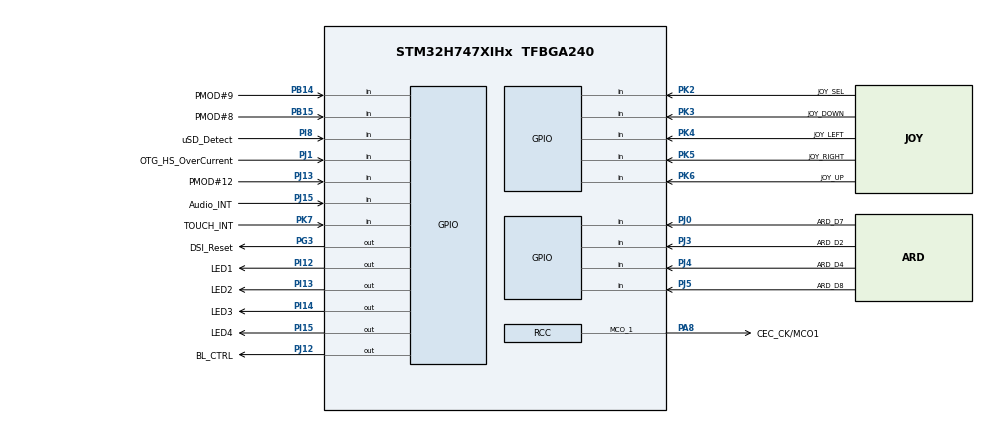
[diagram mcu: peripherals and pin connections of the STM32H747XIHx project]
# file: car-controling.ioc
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CortexM4.IPs=BDMA,DMA,FATFS_M4\:I,FREERTOS_M4\:I,IWDG2\:I,MDMA,NVIC2\:I,RCC,USB_DEVICE_M4\:I,USB_HOST_M4\:I,WWDG2\:I,DEBUG,PDM2PCM_M4\:I,PWR,RESMGR_UTILITY,SYS_M4\:I,CORTEX_M4\:I,OPENAMP_M4\:I,VREFBUF,GPIO
CortexM4.Pins=PI12,PI14
CortexM7.IPs=BDMA\:I,DMA\:I,FATFS_M7\:I,FREERTOS_M7\:I,IWDG1\:I,MDMA\:I,NVIC1\:I,RCC\:I,USB_DEVICE_M7\:I,USB_HOST_M7\:I,WWDG1\:I,CORTEX_M7\:I,DEBUG\:I,PDM2PCM_M7\:I,PWR\:I,RESMGR_UTILITY\:I,SYS\:I,OPENAMP_M7\:I,VREFBUF\:I,GPIO\:I
CortexM7.Pins=PI13,PI15
DSI_CKN.Signal=DSIHOST_CKN
DSI_CKP.Signal=DSIHOST_CKP
DSI_D0N.Signal=DSIHOST_D0N
DSI_D0P.Signal=DSIHOST_D0P
DSI_D1N.Signal=DSIHOST_D1N
DSI_D1P.Signal=DSIHOST_D1P
Mcu.Family=STM32H7
Mcu.Name=STM32H747XIHx
Mcu.Package=TFBGA240
NVIC1.PriorityGroup=NVIC_PRIORITYGROUP_4
NVIC2.PriorityGroup=NVIC_PRIORITYGROUP_4
PA0_C.GPIO_Label=ARD_A2
PA0_C.PinAttribute=CortexM4
PA0_C.Signal=ADCx_INP0
PA1.GPIO_Label=ETH_REF_CLK
PA1.PinAttribute=CortexM4
PA1.Signal=ETH_REF_CLK
PA10.GPIO_Label=STLINK_TX
PA10.PinAttribute=CortexM7
PA10.Signal=USART1_RX
PA11.GPIO_Label=PMOD\#1
PA11.PinAttribute=CortexM4
PA11.Signal=SPI2_NSS
PA12.GPIO_Label=SPI2_SCK
PA12.PinAttribute=CortexM4
PA12.Signal=SPI2_SCK
PA1_C.GPIO_Label=ARD_A3
PA1_C.PinAttribute=CortexM4
PA1_C.Signal=ADCx_INP1
PA2.GPIO_Label=ETH_MDIO
PA2.PinAttribute=CortexM4
PA2.Signal=ETH_MDIO
PA3.GPIO_Label=ULPI_D0
PA3.PinAttribute=CortexM4
PA3.Signal=USB_OTG_HS_ULPI_D0
PA5.GPIO_Label=ULPI_CK
PA5.PinAttribute=CortexM4
PA5.Signal=USB_OTG_HS_ULPI_CK
PA7.GPIO_Label=ETH_CRS_DV
PA7.PinAttribute=CortexM4
PA7.Signal=ETH_CRS_DV
PA8.GPIO_Label=CEC_CK/MCO1
PA8.Mode=Clock-out-1
PA8.PinAttribute=CortexM7
PA8.Signal=RCC_MCO_1
PA9.GPIO_Label=STLINK_RX
PA9.PinAttribute=CortexM7
PA9.Signal=USART1_TX
PB0.GPIO_Label=ULPI_D1
PB0.PinAttribute=CortexM4
PB0.Signal=USB_OTG_HS_ULPI_D1
PB1.GPIO_Label=ULPI_D2
PB1.PinAttribute=CortexM4
PB1.Signal=USB_OTG_HS_ULPI_D2
PB10.GPIO_Label=ULPI_D3
PB10.PinAttribute=CortexM4
PB10.Signal=USB_OTG_HS_ULPI_D3
PB11.GPIO_Label=ULPI_D4
PB11.PinAttribute=CortexM4
PB11.Signal=USB_OTG_HS_ULPI_D4
PB12.GPIO_Label=ULPI_D5
PB12.PinAttribute=CortexM4
PB12.Signal=USB_OTG_HS_ULPI_D5
PB13.GPIO_Label=ULPI_D6
PB13.PinAttribute=CortexM4
PB13.Signal=USB_OTG_HS_ULPI_D6
PB14.GPIO_Label=PMOD\#9
PB14.PinAttribute=Free
PB14.Signal=GPIO_Input
PB15.GPIO_Label=PMOD\#8
PB15.PinAttribute=Free
PB15.Signal=GPIO_Input
PB2.GPIO_Label=QSPI_CLK
PB2.PinAttribute=CortexM4
PB2.Signal=QUADSPI_CLK
PB5.GPIO_Label=ULPI_D7
PB5.PinAttribute=CortexM4
PB5.Signal=USB_OTG_HS_ULPI_D7
PB6.GPIO_Label=HDMI_CEC
PB6.PinAttribute=CortexM4
PB6.Signal=CEC
PC0.GPIO_Label=ULPI_STP
PC0.PinAttribute=CortexM4
PC0.Signal=USB_OTG_HS_ULPI_STP
PC1.GPIO_Label=ETH_MDC/SAI4_D1
PC1.PinAttribute=CortexM4
PC1.Signal=ETH_MDC
PC10.GPIO_Label=SDIO1_D2
PC10.PinAttribute=CortexM4
PC10.Signal=SDMMC1_D2
PC12.GPIO_Label=SDIO1_CK
PC12.PinAttribute=CortexM4
PC12.Signal=SDMMC1_CK
PC13.GPIO_Label=B2 [Wakeup Button]
PC13.PinAttribute=CortexM4
PC13.Signal=RTC_TAMP1
PC14-OSC32_IN\ (OSC32_IN).GPIO_Label=OSC32_IN
PC14-OSC32_IN\ (OSC32_IN).Mode=LSE-External-Oscillator
PC14-OSC32_IN\ (OSC32_IN).PinAttribute=CortexM7
PC14-OSC32_IN\ (OSC32_IN).Signal=RCC_OSC32_IN
PC15-OSC32_OUT\ (OSC32_OUT).GPIO_Label=OSC32_OUT
PC15-OSC32_OUT\ (OSC32_OUT).Mode=LSE-External-Oscillator
PC15-OSC32_OUT\ (OSC32_OUT).PinAttribute=CortexM7
PC15-OSC32_OUT\ (OSC32_OUT).Signal=RCC_OSC32_OUT
PC2.GPIO_Label=PMOD\#3
PC2.PinAttribute=CortexM4
PC2.Signal=SPI2_MISO
PC2_C.GPIO_Label=ARD_A4
PC2_C.PinAttribute=CortexM4
PC2_C.Signal=ADC3_INP0
PC3.GPIO_Label=PMOD\#2
PC3.PinAttribute=CortexM4
PC3.Signal=SPI2_MOSI
PC3_C.GPIO_Label=ARD_A5
PC3_C.PinAttribute=CortexM4
PC3_C.Signal=ADC3_INP1
PC4.GPIO_Label=ETH_RXD0
PC4.PinAttribute=CortexM4
PC4.Signal=ETH_RXD0
PC5.GPIO_Label=ETH_RXD1
PC5.PinAttribute=CortexM4
PC5.Signal=ETH_RXD1
PC8.GPIO_Label=SDIO1_D0
PC8.PinAttribute=CortexM4
PC8.Signal=SDMMC1_D0
PD0.GPIO_Label=FMC_D2
PD0.PinAttribute=CortexM4
PD0.Signal=FMC_D2_DA2
PD1.GPIO_Label=FMC_D3
PD1.PinAttribute=CortexM4
PD1.Signal=FMC_D3_DA3
PD10.GPIO_Label=FMC_D15
PD10.PinAttribute=CortexM4
PD10.Signal=FMC_D15_DA15
PD11.GPIO_Label=QSPI_BK1_IO0
PD11.PinAttribute=CortexM4
PD11.Signal=QUADSPI_BK1_IO0
PD12.Signal=I2C4_SCL
PD13.Signal=I2C4_SDA
PD14.GPIO_Label=FMC_D0
PD14.PinAttribute=CortexM4
PD14.Signal=FMC_D0_DA0
PD15.GPIO_Label=FMC_D1
PD15.PinAttribute=CortexM4
PD15.Signal=FMC_D1_DA1
PD2.GPIO_Label=SDIO1_CMD
PD2.PinAttribute=CortexM4
PD2.Signal=SDMMC1_CMD
PD7.GPIO_Label=SPDIF_RX0
PD7.PinAttribute=CortexM4
PD7.Signal=SPDIFRX1_IN0
PD8.GPIO_Label=FMC_D13
PD8.PinAttribute=CortexM4
PD8.Signal=FMC_D13_DA13
PD9.GPIO_Label=FMC_D14
PD9.PinAttribute=CortexM4
PD9.Signal=FMC_D14_DA14
PE0.GPIO_Label=FMC_NBL0
PE0.PinAttribute=CortexM4
PE0.Signal=FMC_NBL0
PE1.GPIO_Label=FMC_NBL1
PE1.PinAttribute=CortexM4
PE1.Signal=FMC_NBL1
PE10.GPIO_Label=FMC_D7
PE10.PinAttribute=CortexM4
PE10.Signal=FMC_D7_DA7
PE11.GPIO_Label=FMC_D8
PE11.PinAttribute=CortexM4
PE11.Signal=FMC_D8_DA8
PE12.GPIO_Label=FMC_D9
PE12.PinAttribute=CortexM4
PE12.Signal=FMC_D9_DA9
PE13.GPIO_Label=FMC_D10
PE13.PinAttribute=CortexM4
PE13.Signal=FMC_D10_DA10
PE14.GPIO_Label=FMC_D11
PE14.PinAttribute=CortexM4
PE14.Signal=FMC_D11_DA11
PE15.GPIO_Label=FMC_D12
PE15.PinAttribute=CortexM4
PE15.Signal=FMC_D12_DA12
PE3.GPIO_Label=SAI1_SD_B
PE3.PinAttribute=CortexM4
PE3.Signal=SAI1_SD_B
PE4.GPIO_Label=SAI1_FS_A
PE4.PinAttribute=CortexM4
PE4.Signal=SAI1_FS_A
PE5.GPIO_Label=SAI1_SCK_A
PE5.PinAttribute=CortexM4
PE5.Signal=SAI1_SCK_A
PE6.GPIO_Label=SAI1_SD_A
PE6.PinAttribute=CortexM4
PE6.Signal=SAI1_SD_A
PE7.GPIO_Label=FMC_D4
PE7.PinAttribute=CortexM4
PE7.Signal=FMC_D4_DA4
PE8.GPIO_Label=FMC_D5
PE8.PinAttribute=CortexM4
PE8.Signal=FMC_D5_DA5
PE9.GPIO_Label=FMC_D6
PE9.PinAttribute=CortexM4
PE9.Signal=FMC_D6_DA6
PF0.GPIO_Label=FMC_A0
PF0.PinAttribute=CortexM4
PF0.Signal=FMC_A0
PF1.GPIO_Label=FMC_A1
PF1.PinAttribute=CortexM4
PF1.Signal=FMC_A1
PF10.GPIO_Label=ARD_A1
PF10.PinAttribute=CortexM4
PF10.Signal=ADC3_INP6
PF11.GPIO_Label=FMC_SDRAS
PF11.PinAttribute=CortexM4
PF11.Signal=FMC_SDNRAS
PF12.GPIO_Label=FMC_A6
PF12.PinAttribute=CortexM4
PF12.Signal=FMC_A6
PF13.GPIO_Label=FMC_A7
PF13.PinAttribute=CortexM4
PF13.Signal=FMC_A7
PF14.GPIO_Label=FMC_A8
PF14.PinAttribute=CortexM4
PF14.Signal=FMC_A8
PF15.GPIO_Label=FMC_A9
PF15.PinAttribute=CortexM4
PF15.Signal=FMC_A9
PF2.GPIO_Label=FMC_A2
PF2.PinAttribute=CortexM4
PF2.Signal=FMC_A2
PF3.GPIO_Label=FMC_A3
PF3.PinAttribute=CortexM4
PF3.Signal=FMC_A3
PF4.GPIO_Label=FMC_A4
PF4.PinAttribute=CortexM4
PF4.Signal=FMC_A4
PF5.GPIO_Label=FMC_A5
PF5.PinAttribute=CortexM4
PF5.Signal=FMC_A5
PF6.GPIO_Label=QSPI_BK1_IO3
PF6.PinAttribute=CortexM4
PF6.Signal=QUADSPI_BK1_IO3
PF7.GPIO_Label=QSPI_BK1_IO2
PF7.PinAttribute=CortexM4
PF7.Signal=QUADSPI_BK1_IO2
PF8.GPIO_Label=PMOD\#14/ARD_D3
PF8.PinAttribute=CortexM4
PF8.Signal=S_TIM13_CH1
PF9.GPIO_Label=QSPI_BK1_IO1
PF9.PinAttribute=CortexM4
PF9.Signal=QUADSPI_BK1_IO1
PG0.GPIO_Label=FMC_A10
PG0.PinAttribute=CortexM4
PG0.Signal=FMC_A10
PG1.GPIO_Label=FMC_A11
PG1.PinAttribute=CortexM4
PG1.Signal=FMC_A11
PG11.GPIO_Label=ETH_TX_EN
PG11.PinAttribute=CortexM4
PG11.Signal=ETH_TX_EN
PG12.GPIO_Label=ETH_TXD1
PG12.PinAttribute=CortexM4
PG12.Signal=ETH_TXD1
PG13.GPIO_Label=ETH_TXD0
PG13.PinAttribute=CortexM4
PG13.Signal=ETH_TXD0
PG14.GPIO_Label=QSPI_BK2_IO3
PG14.PinAttribute=CortexM4
PG14.Signal=QUADSPI_BK2_IO3
PG15.GPIO_Label=FMC_SDCAS
PG15.PinAttribute=CortexM4
PG15.Signal=FMC_SDNCAS
PG2.GPIO_Label=FMC_A12
PG2.PinAttribute=CortexM4
PG2.Signal=FMC_A12
PG3.GPIO_Label=DSI_Reset
PG3.PinAttribute=Free
PG3.Signal=GPIO_Output
PG4.GPIO_Label=FMC_BA0
PG4.PinAttribute=CortexM4
PG4.Signal=FMC_A14_BA0
PG6.GPIO_Label=QSPI_BK1_NCS
PG6.PinAttribute=CortexM4
PG6.Signal=QUADSPI_BK1_NCS
PG7.GPIO_Label=SAI1_MCLK_A
PG7.PinAttribute=CortexM4
PG7.Signal=SAI1_MCLK_A
PG8.GPIO_Label=FMC_SDCLK
PG8.PinAttribute=CortexM4
PG8.Signal=FMC_SDCLK
PG9.GPIO_Label=QSPI_BK2_IO2
PG9.PinAttribute=CortexM4
PG9.Signal=QUADSPI_BK2_IO2
PH0-OSC_IN\ (PH0).GPIO_Label=OSC_IN
PH0-OSC_IN\ (PH0).Mode=HSE-External-Oscillator
PH0-OSC_IN\ (PH0).PinAttribute=CortexM7
PH0-OSC_IN\ (PH0).Signal=RCC_OSC_IN
PH1-OSC_OUT\ (PH1).GPIO_Label=OSC_OUT
PH1-OSC_OUT\ (PH1).Mode=HSE-External-Oscillator
PH1-OSC_OUT\ (PH1).PinAttribute=CortexM7
PH1-OSC_OUT\ (PH1).Signal=RCC_OSC_OUT
PH10.GPIO_Label=FMC_D18
PH10.PinAttribute=CortexM4
PH10.Signal=FMC_D18
PH11.GPIO_Label=FMC_D19
PH11.PinAttribute=CortexM4
PH11.Signal=FMC_D19
PH12.GPIO_Label=FMC_D20
PH12.PinAttribute=CortexM4
PH12.Signal=FMC_D20
PH13.GPIO_Label=FMC_D21
PH13.PinAttribute=CortexM4
PH13.Signal=FMC_D21
PH14.GPIO_Label=FMC_D22
PH14.PinAttribute=CortexM4
PH14.Signal=FMC_D22
PH15.GPIO_Label=FMC_D23
PH15.PinAttribute=CortexM4
PH15.Signal=FMC_D23
PH2.GPIO_Label=QSPI_BK2_IO0
PH2.PinAttribute=CortexM4
PH2.Signal=QUADSPI_BK2_IO0
PH3.GPIO_Label=QSPI_BK2_IO1
PH3.PinAttribute=CortexM4
PH3.Signal=QUADSPI_BK2_IO1
PH4.GPIO_Label=ULPI_NXT
PH4.PinAttribute=CortexM4
PH4.Signal=USB_OTG_HS_ULPI_NXT
PH5.GPIO_Label=FMC_SDNWE
PH5.PinAttribute=CortexM4
PH5.Signal=FMC_SDNWE
PH6.GPIO_Label=FMC_SDNE1
PH6.PinAttribute=CortexM4
PH6.Signal=FMC_SDNE1
PH7.GPIO_Label=FMC_SDCKE1
PH7.PinAttribute=CortexM4
PH7.Signal=FMC_SDCKE1
PH8.GPIO_Label=FMC_D16
PH8.PinAttribute=CortexM4
PH8.Signal=FMC_D16
PH9.GPIO_Label=FMC_D17
PH9.PinAttribute=CortexM4
PH9.Signal=FMC_D17
PI0.GPIO_Label=FMC_D24
PI0.PinAttribute=CortexM4
PI0.Signal=FMC_D24
PI1.GPIO_Label=FMC_D25
PI1.PinAttribute=CortexM4
PI1.Signal=FMC_D25
PI10.GPIO_Label=FMC_D31
PI10.PinAttribute=CortexM4
PI10.Signal=FMC_D31
PI11.GPIO_Label=ULPI_DIR
PI11.PinAttribute=CortexM4
PI11.Signal=USB_OTG_HS_ULPI_DIR
PI12.GPIO_Label=LED1
PI12.PinAttribute=CortexM4
PI12.Signal=GPIO_Output
PI13.GPIO_Label=LED2
PI13.PinAttribute=CortexM7
PI13.Signal=GPIO_Output
PI14.GPIO_Label=LED3
PI14.PinAttribute=CortexM4
PI14.Signal=GPIO_Output
PI15.GPIO_Label=LED4
PI15.PinAttribute=CortexM7
PI15.Signal=GPIO_Output
PI2.GPIO_Label=FMC_D26
PI2.PinAttribute=CortexM4
PI2.Signal=FMC_D26
PI3.GPIO_Label=FMC_D27
PI3.PinAttribute=CortexM4
PI3.Signal=FMC_D27
PI4.GPIO_Label=FMC_NBL2
PI4.PinAttribute=CortexM4
PI4.Signal=FMC_NBL2
PI5.GPIO_Label=FMC_NBL3
PI5.PinAttribute=CortexM4
PI5.Signal=FMC_NBL3
PI6.GPIO_Label=FMC_D28
PI6.PinAttribute=CortexM4
PI6.Signal=FMC_D28
PI7.GPIO_Label=FMC_D29
PI7.PinAttribute=CortexM4
PI7.Signal=FMC_D29
PI8.GPIO_Label=uSD_Detect
PI8.PinAttribute=Free
PI8.Signal=GPIO_Input
PI9.GPIO_Label=FMC_D30
PI9.PinAttribute=CortexM4
PI9.Signal=FMC_D30
PJ0.GPIO_Label=ARD_D7
PJ0.PinAttribute=Free
PJ0.Signal=GPIO_Input
PJ1.GPIO_Label=OTG_HS_OverCurrent
PJ1.PinAttribute=Free
PJ1.Signal=GPIO_Input
PJ10.GPIO_Label=ARD_D11
PJ10.PinAttribute=CortexM4
PJ10.Signal=SPI5_MOSI
PJ11.GPIO_Label=ARD_D12
PJ11.PinAttribute=CortexM4
PJ11.Signal=SPI5_MISO
PJ12.GPIO_Label=BL_CTRL
PJ12.PinAttribute=Free
PJ12.Signal=GPIO_Output
PJ13.GPIO_Label=PMOD\#12
PJ13.PinAttribute=Free
PJ13.Signal=GPIO_Input
PJ15.GPIO_Label=Audio_INT
PJ15.PinAttribute=Free
PJ15.Signal=GPIO_Input
PJ2.GPIO_Label=DSI_TE
PJ2.Signal=DSIHOST_TE
PJ3.GPIO_Label=ARD_D2
PJ3.PinAttribute=Free
PJ3.Signal=GPIO_Input
PJ4.GPIO_Label=ARD_D4
PJ4.PinAttribute=Free
PJ4.Signal=GPIO_Input
PJ5.GPIO_Label=ARD_D8
PJ5.PinAttribute=Free
PJ5.Signal=GPIO_Input
PJ6.GPIO_Label=ARD_D9
PJ6.PinAttribute=CortexM4
PJ6.Signal=S_TIM8_CH2
PJ7.GPIO_Label=ARD_D6
PJ7.PinAttribute=CortexM4
PJ7.Signal=TIM8_CH2N
PJ8.GPIO_Label=ARD_D1
PJ8.PinAttribute=CortexM4
PJ8.Signal=UART8_TX
PJ9.GPIO_Label=ARD_D0
PJ9.PinAttribute=CortexM4
PJ9.Signal=UART8_RX
PK0.GPIO_Label=ARD_D13
PK0.PinAttribute=CortexM4
PK0.Signal=SPI5_SCK
PK1.GPIO_Label=ARD_D10
PK1.PinAttribute=CortexM4
PK1.Signal=SPI5_NSS
PK2.GPIO_Label=JOY_SEL
PK2.PinAttribute=Free
PK2.Signal=GPIO_Input
PK3.GPIO_Label=JOY_DOWN
PK3.PinAttribute=Free
PK3.Signal=GPIO_Input
PK4.GPIO_Label=JOY_LEFT
PK4.PinAttribute=Free
PK4.Signal=GPIO_Input
PK5.GPIO_Label=JOY_RIGHT
PK5.PinAttribute=Free
PK5.Signal=GPIO_Input
PK6.GPIO_Label=JOY_UP
PK6.PinAttribute=Free
PK6.Signal=GPIO_Input
PK7.GPIO_Label=TOUCH_INT
PK7.PinAttribute=Free
PK7.Signal=GPIO_Input
ProjectManager.HeapSize=M4-0x200,M7-0x200
ProjectManager.StackSize=M4-0x400,M7-0x400
ProjectManager.TargetToolchain=Makefile
RCC.ADCFreq_Value=75000000
RCC.APB1Freq_Value=64000000
RCC.APB2Freq_Value=64000000
RCC.APB3Freq_Value=64000000
RCC.APB4Freq_Value=64000000
RCC.CortexFreq_Value=64000000
RCC.DIVM1=5
RCC.DIVM2=2
RCC.DIVN1=48
RCC.DIVN2=12
RCC.DIVQ1=5
RCC.HCLKFreq_Value=64000000
RCC.PLL2FRACN=0
RCC.PLL3FRACN=0
RCC.PLLFRACN=0
RCC.PLLSourceVirtual=RCC_PLLSOURCE_HSE
RCC.PWR_Regulator_Voltage_Scale=PWR_REGULATOR_VOLTAGE_SCALE1
RCC.SYSCLKFreq_VALUE=64000000
RCC.SupplySource=PWR_DIRECT_SMPS_SUPPLY
RCC.USBFreq_Value=48000000
SH.ADCx_INP0.0=ADC1_INP0
SH.ADCx_INP1.0=ADC1_INP1
SH.FMC_A0.0=FMC_A0
SH.FMC_A1.0=FMC_A1
SH.FMC_A10.0=FMC_A10
SH.FMC_A11.0=FMC_A11
SH.FMC_A12.0=FMC_A12
SH.FMC_A14_BA0.0=FMC_BA0
SH.FMC_A2.0=FMC_A2
SH.FMC_A3.0=FMC_A3
SH.FMC_A4.0=FMC_A4
SH.FMC_A5.0=FMC_A5
SH.FMC_A6.0=FMC_A6
SH.FMC_A7.0=FMC_A7
SH.FMC_A8.0=FMC_A8
SH.FMC_A9.0=FMC_A9
SH.FMC_D0_DA0.0=FMC_D0
SH.FMC_D10_DA10.0=FMC_D10
SH.FMC_D11_DA11.0=FMC_D11
SH.FMC_D12_DA12.0=FMC_D12
SH.FMC_D13_DA13.0=FMC_D13
SH.FMC_D14_DA14.0=FMC_D14
SH.FMC_D15_DA15.0=FMC_D15
SH.FMC_D16.0=FMC_D16
SH.FMC_D17.0=FMC_D17
SH.FMC_D18.0=FMC_D18
SH.FMC_D19.0=FMC_D19
SH.FMC_D1_DA1.0=FMC_D1
SH.FMC_D20.0=FMC_D20
SH.FMC_D21.0=FMC_D21
SH.FMC_D22.0=FMC_D22
SH.FMC_D23.0=FMC_D23
SH.FMC_D24.0=FMC_D24
SH.FMC_D25.0=FMC_D25
SH.FMC_D26.0=FMC_D26
SH.FMC_D27.0=FMC_D27
SH.FMC_D28.0=FMC_D28
SH.FMC_D29.0=FMC_D29
SH.FMC_D2_DA2.0=FMC_D2
SH.FMC_D30.0=FMC_D30
SH.FMC_D31.0=FMC_D31
SH.FMC_D3_DA3.0=FMC_D3
SH.FMC_D4_DA4.0=FMC_D4
SH.FMC_D5_DA5.0=FMC_D5
SH.FMC_D6_DA6.0=FMC_D6
SH.FMC_D7_DA7.0=FMC_D7
SH.FMC_D8_DA8.0=FMC_D8
SH.FMC_D9_DA9.0=FMC_D9
SH.FMC_NBL0.0=FMC_NBL0
SH.FMC_NBL1.0=FMC_NBL1
SH.FMC_NBL2.0=FMC_NBL2
SH.FMC_NBL3.0=FMC_NBL3
SH.FMC_SDCLK.0=FMC_SDCLK
SH.FMC_SDNCAS.0=FMC_SDNCAS
SH.FMC_SDNRAS.0=FMC_SDNRAS
SH.FMC_SDNWE.0=FMC_SDNWE
SH.S_TIM13_CH1.0=TIM13_CH1
SH.S_TIM8_CH2.0=TIM8_CH2
VP_SYS_M4_VS_Systick.Mode=SysTick
board=STM32H747I-DISCO

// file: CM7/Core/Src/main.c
/* USER CODE BEGIN Header */
/**
 ******************************************************************************
 * @file           : main.c
 * @brief          : Main program body
 ******************************************************************************
 * @attention
 *
 * Copyright (c) 2024 STMicroelectronics.
 * All rights reserved.
 *
 * This software is licensed under terms that can be found in the LICENSE file
 * in the root directory of this software component.
 * If no LICENSE file comes with this software, it is provided AS-IS.
 *
 ******************************************************************************
 */
/* USER CODE END Header */
#include "main.h"
#include "gpio.h"

/* USER CODE BEGIN PTD */

extern LTDC_HandleTypeDef hlcd_ltdc;
extern DSI_HandleTypeDef hlcd_dsi;
DSI_VidCfgTypeDef hdsivideo_handle;
DSI_CmdCfgTypeDef CmdCfg;
DSI_LPCmdTypeDef LPCmd;
DSI_PLLInitTypeDef dsiPllInit;
static RCC_PeriphCLKInitTypeDef PeriphClkInitStruct;
OTM8009A_Object_t *pObj;

typedef enum {
   FRONT_SCREEN,
   TURNON_SCENE,
   TIMER_CONFIG_SCENE,
   WAITING_SCENE
} Scene_t;
typedef enum { PUSH_BUTTON, TIMER_BUTTON, NONE } Button_type_t;

typedef struct {
   Scene_t scene;
   uint8_t _delay;
   char status_message[50];
   char title[50];
   uint32_t status_color;
   uint16_t progress_bar;
   uint32_t timer;
   uint32_t config_timer;
   uint32_t timer_left;
   uint32_t timer_start_time;
   uint32_t button_left_color;
   Button_type_t button_left_type;
   uint32_t button_right_color;
   Button_type_t button_right_type;
} App_t;

/* USER CODE END PTD */

/* USER CODE BEGIN PD */

#define VSYNC 1
#define VBP 1
#define VFP 1
#define VACT 480
#define HSYNC 1
#define HBP 1
#define HFP 1
#define HACT 800

#define TS_ACCURACY 2
#define TS_INSTANCE 0

#define SECOND 1000

#define APP_COLOR_BACKGROUND UTIL_LCD_COLOR_CUSTOM_Stone
#define APP_COLOR_RED UTIL_LCD_COLOR_RED
#define APP_COLOR_BLUE UTIL_LCD_COLOR_CUSTOM_Blue
#define APP_COLOR_TEXT UTIL_LCD_COLOR_WHITE
#define APP_COLOR_GREEN UTIL_LCD_COLOR_DARKGREEN
#define APP_COLOR_YELLOW UTIL_LCD_COLOR_CUSTOM_Yellow
#define APP_COLOR_STONE UTIL_LCD_COLOR_BLACK

#define LAYER0_ADDRESS (LCD_FB_START_ADDRESS)

#define DELAY 1000

#ifndef HSEM_ID_0
#define HSEM_ID_0 (0U) /* HW semaphore 0*/
#endif

/* USER CODE END PD */

/* USER CODE BEGIN PV */

static int32_t pending_buffer = -1;

/* USER CODE END PV */

void SystemClock_Config(void);
/* USER CODE BEGIN PFP */
void Error_Handler(void);

/* LCD screen functions */
static uint8_t LCD_Init(void);
void LTDC_Init(void);

static void LCD_LayertInit(uint16_t LayerIndex, uint32_t Address);
static int32_t DSI_IO_Write(uint16_t ChannelNbr, uint16_t Reg, uint8_t *pData,
                            uint16_t Size);
static int32_t DSI_IO_Read(uint16_t ChannelNbr, uint16_t Reg, uint8_t *pData,
                           uint16_t Size);
int32_t LCD_GetXSize(uint32_t Instance, uint32_t *XSize);
int32_t LCD_GetYSize(uint32_t Instance, uint32_t *YSize);
void LCD_MspInit(void);

/* Display functions */
static void LCD_Display_SetStatus(char *ptr);
static void LCD_Display_ProgressBar(uint16_t progress, uint32_t color);
static void LCD_Display_SetTitle(char *ptr);
static void LCD_Display_LeftButton(App_t *app);
static void LCD_Display_RightButton(App_t *app);
static void LCD_Display_ButtonTitles(App_t *app);
static void LCD_Display_TimerButton(App_t *app);

/* TouchScreen functions */
int32_t TS_Init(void);

/* Main app logic functions */
static void APP_HandleTouch(TS_State_t *TS_State, App_t *app);
static void APP_UpdateScene(App_t *app);
uint8_t APP_HandleTouch_IsInInterval(TS_State_t *s, uint32_t x_max,
                                     uint32_t x_min, uint32_t y_max,
                                     uint32_t y_min);
static void APP_StartTimer(App_t *app);
static void APP_UpdateTimer(App_t *app);
static void APP_TurnPeripheries(App_t *app);

static void TO_FRONT_SCENE(App_t *app);
static void TO_TURNON_SCENE(App_t *app);
static void TO_TIMER_CONFIG_SCENE(App_t *app);
static void TO_WAITING_SCENE(App_t *app);

static void CPU_CACHE_Enable(void);
static void MPU_Config(void);

const LCD_UTILS_Drv_t LCD_UTIL_Driver = {
    BSP_LCD_DrawBitmap,     BSP_LCD_FillRGBRect,   BSP_LCD_DrawHLine,
    BSP_LCD_DrawVLine,      BSP_LCD_FillRect,      BSP_LCD_ReadPixel,
    BSP_LCD_WritePixel,     LCD_GetXSize,          LCD_GetYSize,
    BSP_LCD_SetActiveLayer, BSP_LCD_GetPixelFormat};

/* USER CODE END PFP */

/**
 * @brief  Main program
 * @param  None
 * @retval None
 */
int main(void)
{

   /* System Init, System clock, voltage scaling and L1-Cache configuration are
    done by CPU1 (Cortex-M7) in the meantime Domain D2 is put in STOP
    mode(Cortex-M4 in deep-sleep)
    */

   /* Configure the MPU attributes as Write Through for SDRAM*/
   MPU_Config();

   /* Enable the CPU Cache */
   // CPU_CACHE_Enable(); // ! FOR DUAL CORE COMMUN., CACHE SHOULD BE DISABLE

   /* STM32H7xx HAL library initialization:
    - Systick timer is configured by default as source of time base, but user
    can eventually implement his proper time base source (a general purpose
    timer for example or other time source), keeping in mind that Time base
    duration should be kept 1ms since PPP_TIMEOUT_VALUEs are defined and
    handled in milliseconds basis.
    - Set NVIC Group Priority to 4
    - Low Level Initialization
    */
   HAL_Init();

   /* Configure the system clock to 400 MHz */
   SystemClock_Config();

   /* When system initialization is finished, Cortex-M7 could wakeup (when
    needed) the Cortex-M4  by means of HSEM notification or by any D2 wakeup
    source (SEV,EXTI..)   */

   /* Initialize used Leds */
   BSP_LED_Init(LED2);
   BSP_LED_Init(LED4);

   /* Initialize the SDRAM */
   BSP_SDRAM_Init(0);

   /* Init Touch Screen */
   if (TS_Init() != BSP_ERROR_NONE) {
      Error_Handler();
   }

   /* Initialize the LCD   */
   if (LCD_Init() != BSP_ERROR_NONE) {
      Error_Handler();
   }

   /* Set the LCD Context */
   Lcd_Ctx[0].ActiveLayer = 0;
   Lcd_Ctx[0].PixelFormat = LCD_PIXEL_FORMAT_ARGB8888;
   Lcd_Ctx[0].BppFactor = 4; /* 4 Bytes Per Pixel for ARGB8888 */
   Lcd_Ctx[0].XSize = 800;
   Lcd_Ctx[0].YSize = 480;
   /* Disable DSI Wrapper in order to access and configure the LTDC */
   __HAL_DSI_WRAPPER_DISABLE(&hlcd_dsi);

   /* Initialize LTDC layer 0 iused for Hint */
   LCD_LayertInit(0, LCD_FRAME_BUFFER);
   UTIL_LCD_SetFuncDriver(&LCD_UTIL_Driver);

   /* Enable DSI Wrapper so DSI IP will drive the LTDC */
   __HAL_DSI_WRAPPER_ENABLE(&hlcd_dsi);

   /* Clear display */
   UTIL_LCD_Clear(APP_COLOR_BACKGROUND);

   /*Refresh the LCD display*/
   HAL_DSI_Refresh(&hlcd_dsi);

   /* Create App struct */
   App_t app;
   app.progress_bar = 100;
   app.timer = 0;
   app.scene = FRONT_SCREEN;
   sprintf(app.status_message, "  Toaster is stopped                         ");
   sprintf(app.title, "            ~ TOASTER CONTROLLER ~");
   app.status_color = APP_COLOR_RED;
   app.button_left_color = APP_COLOR_GREEN;
   app.button_left_type = PUSH_BUTTON;
   app.button_right_color = APP_COLOR_YELLOW;
   app.button_right_type = PUSH_BUTTON;
   app._delay = 0;

   TS_State_t TS_State;

   /* Infinite loop */
   while (1) {

      BSP_TS_GetState(TS_INSTANCE, &TS_State);
      /* Handel touch && Update app struct */
      APP_HandleTouch(&TS_State, &app);

      /* Update timer */
      APP_UpdateTimer(&app);

      /* Render display by app struct */
      APP_UpdateScene(&app);

      /* Turn on toaster, in testing mode I used LED */
      APP_TurnPeripheries(&app);
   }
}
/**
 * @brief  Gets the LCD X size.
 * @param  Instance  LCD Instance
 * @param  XSize     LCD width
 * @retval BSP status
 */
int32_t LCD_GetXSize(uint32_t Instance, uint32_t *XSize)
{
   *XSize = Lcd_Ctx[0].XSize;

   return BSP_ERROR_NONE;
}

/**
 * @brief  Gets the LCD Y size.
 * @param  Instance  LCD Instance
 * @param  YSize     LCD Height
 * @retval BSP status
 */
int32_t LCD_GetYSize(uint32_t Instance, uint32_t *YSize)
{
   *YSize = Lcd_Ctx[0].YSize;

   return BSP_ERROR_NONE;
}
/**
 * @brief  End of Refresh DSI callback.
 * @param  hdsi: pointer to a DSI_HandleTypeDef structure that contains
 *               the configuration information for the DSI.
 * @retval None
 */
void HAL_DSI_EndOfRefreshCallback(DSI_HandleTypeDef *hdsi)
{
   if (pending_buffer >= 0) {
      pending_buffer = -1;
   }
}

/**
 * @brief  Initializes the DSI LCD.
 * The ititialization is done as below:
 *     - DSI PLL ititialization
 *     - DSI ititialization
 *     - LTDC ititialization
 *     - OTM8009A LCD Display IC Driver ititialization
 * @param  None
 * @retval LCD state
 */
static uint8_t LCD_Init(void)
{
   DSI_PHY_TimerTypeDef PhyTimings;
   OTM8009A_IO_t IOCtx;
   static OTM8009A_Object_t OTM8009AObj;
   static void *Lcd_CompObj = NULL;

   /* Toggle Hardware Reset of the DSI LCD using
    its XRES signal (active low) */
   BSP_LCD_Reset(0);

   /* Call first MSP Initialize only in case of first initialization
    * This will set IP blocks LTDC, DSI and DMA2D
    * - out of reset
    * - clocked
    * - NVIC IRQ related to IP blocks enabled
    */
   LCD_MspInit();

   /* LCD clock configuration */
   /* LCD clock configuration */
   /* PLL3_VCO Input = HSE_VALUE/PLL3M = 5 Mhz */
   /* PLL3_VCO Output = PLL3_VCO Input * PLL3N = 800 Mhz */
   /* PLLLCDCLK = PLL3_VCO Output/PLL3R = 800/19 = 42 Mhz */
   /* LTDC clock frequency = PLLLCDCLK = 42 Mhz */
   PeriphClkInitStruct.PeriphClockSelection = RCC_PERIPHCLK_LTDC;
   PeriphClkInitStruct.PLL3.PLL3M = 5;
   PeriphClkInitStruct.PLL3.PLL3N = 160;
   PeriphClkInitStruct.PLL3.PLL3FRACN = 0;
   PeriphClkInitStruct.PLL3.PLL3P = 2;
   PeriphClkInitStruct.PLL3.PLL3Q = 2;
   PeriphClkInitStruct.PLL3.PLL3R = 19;
   PeriphClkInitStruct.PLL3.PLL3VCOSEL = RCC_PLL3VCOWIDE;
   PeriphClkInitStruct.PLL3.PLL3RGE = RCC_PLL3VCIRANGE_2;
   HAL_RCCEx_PeriphCLKConfig(&PeriphClkInitStruct);

   /* Base address of DSI Host/Wrapper registers to be set before calling
    * De-Init */
   hlcd_dsi.Instance = DSI;

   HAL_DSI_DeInit(&(hlcd_dsi));

   dsiPllInit.PLLNDIV = 100;
   dsiPllInit.PLLIDF = DSI_PLL_IN_DIV5;
   dsiPllInit.PLLODF = DSI_PLL_OUT_DIV1;

   hlcd_dsi.Init.NumberOfLanes = DSI_TWO_DATA_LANES;
   hlcd_dsi.Init.TXEscapeCkdiv = 0x4;

   HAL_DSI_Init(&(hlcd_dsi), &(dsiPllInit));

   /* Configure the DSI for Command mode */
   CmdCfg.VirtualChannelID = 0;
   CmdCfg.HSPolarity = DSI_HSYNC_ACTIVE_HIGH;
   CmdCfg.VSPolarity = DSI_VSYNC_ACTIVE_HIGH;
   CmdCfg.DEPolarity = DSI_DATA_ENABLE_ACTIVE_HIGH;
   CmdCfg.ColorCoding = DSI_RGB888;
   CmdCfg.CommandSize = HACT;
   CmdCfg.TearingEffectSource = DSI_TE_DSILINK;
   CmdCfg.TearingEffectPolarity = DSI_TE_RISING_EDGE;
   CmdCfg.VSyncPol = DSI_VSYNC_FALLING;
   CmdCfg.AutomaticRefresh = DSI_AR_DISABLE;
   CmdCfg.TEAcknowledgeRequest = DSI_TE_ACKNOWLEDGE_ENABLE;
   HAL_DSI_ConfigAdaptedCommandMode(&hlcd_dsi, &CmdCfg);

   LPCmd.LPGenShortWriteNoP = DSI_LP_GSW0P_ENABLE;
   LPCmd.LPGenShortWriteOneP = DSI_LP_GSW1P_ENABLE;
   LPCmd.LPGenShortWriteTwoP = DSI_LP_GSW2P_ENABLE;
   LPCmd.LPGenShortReadNoP = DSI_LP_GSR0P_ENABLE;
   LPCmd.LPGenShortReadOneP = DSI_LP_GSR1P_ENABLE;
   LPCmd.LPGenShortReadTwoP = DSI_LP_GSR2P_ENABLE;
   LPCmd.LPGenLongWrite = DSI_LP_GLW_ENABLE;
   LPCmd.LPDcsShortWriteNoP = DSI_LP_DSW0P_ENABLE;
   LPCmd.LPDcsShortWriteOneP = DSI_LP_DSW1P_ENABLE;
   LPCmd.LPDcsShortReadNoP = DSI_LP_DSR0P_ENABLE;
   LPCmd.LPDcsLongWrite = DSI_LP_DLW_ENABLE;
   HAL_DSI_ConfigCommand(&hlcd_dsi, &LPCmd);

   /* Initialize LTDC */
   LTDC_Init();

   /* Start DSI */
   HAL_DSI_Start(&(hlcd_dsi));

   /* Configure DSI PHY HS2LP and LP2HS timings */
   PhyTimings.ClockLaneHS2LPTime = 35;
   PhyTimings.ClockLaneLP2HSTime = 35;
   PhyTimings.DataLaneHS2LPTime = 35;
   PhyTimings.DataLaneLP2HSTime = 35;
   PhyTimings.DataLaneMaxReadTime = 0;
   PhyTimings.StopWaitTime = 10;
   HAL_DSI_ConfigPhyTimer(&hlcd_dsi, &PhyTimings);

   /* Initialize the OTM8009A LCD Display IC Driver (KoD LCD IC Driver) */
   IOCtx.Address = 0;
   IOCtx.GetTick = BSP_GetTick;
   IOCtx.WriteReg = DSI_IO_Write;
   IOCtx.ReadReg = DSI_IO_Read;
   OTM8009A_RegisterBusIO(&OTM8009AObj, &IOCtx);
   Lcd_CompObj = (&OTM8009AObj);
   OTM8009A_Init(Lcd_CompObj, OTM8009A_COLMOD_RGB888,
                 LCD_ORIENTATION_LANDSCAPE);

   LPCmd.LPGenShortWriteNoP = DSI_LP_GSW0P_DISABLE;
   LPCmd.LPGenShortWriteOneP = DSI_LP_GSW1P_DISABLE;
   LPCmd.LPGenShortWriteTwoP = DSI_LP_GSW2P_DISABLE;
   LPCmd.LPGenShortReadNoP = DSI_LP_GSR0P_DISABLE;
   LPCmd.LPGenShortReadOneP = DSI_LP_GSR1P_DISABLE;
   LPCmd.LPGenShortReadTwoP = DSI_LP_GSR2P_DISABLE;
   LPCmd.LPGenLongWrite = DSI_LP_GLW_DISABLE;
   LPCmd.LPDcsShortWriteNoP = DSI_LP_DSW0P_DISABLE;
   LPCmd.LPDcsShortWriteOneP = DSI_LP_DSW1P_DISABLE;
   LPCmd.LPDcsShortReadNoP = DSI_LP_DSR0P_DISABLE;
   LPCmd.LPDcsLongWrite = DSI_LP_DLW_DISABLE;
   HAL_DSI_ConfigCommand(&hlcd_dsi, &LPCmd);

   HAL_DSI_ConfigFlowControl(&hlcd_dsi, DSI_FLOW_CONTROL_BTA);
   HAL_DSI_ForceRXLowPower(&hlcd_dsi, ENABLE);

   return BSP_ERROR_NONE;
}

/**
 * @brief
 * @param  None
 * @retval None
 */
void LTDC_Init(void)
{
   /* DeInit */
   hlcd_ltdc.Instance = LTDC;
   HAL_LTDC_DeInit(&hlcd_ltdc);

   /* LTDC Config */
   /* Timing and polarity */
   hlcd_ltdc.Init.HorizontalSync = HSYNC;
   hlcd_ltdc.Init.VerticalSync = VSYNC;
   hlcd_ltdc.Init.AccumulatedHBP = HSYNC + HBP;
   hlcd_ltdc.Init.AccumulatedVBP = VSYNC + VBP;
   hlcd_ltdc.Init.AccumulatedActiveH = VSYNC + VBP + VACT;
   hlcd_ltdc.Init.AccumulatedActiveW = HSYNC + HBP + HACT;
   hlcd_ltdc.Init.TotalHeigh = VSYNC + VBP + VACT + VFP;
   hlcd_ltdc.Init.TotalWidth = HSYNC + HBP + HACT + HFP;

   /* background value */
   hlcd_ltdc.Init.Backcolor.Blue = 0;
   hlcd_ltdc.Init.Backcolor.Green = 0;
   hlcd_ltdc.Init.Backcolor.Red = 0;

   /* Polarity */
   hlcd_ltdc.Init.HSPolarity = LTDC_HSPOLARITY_AL;
   hlcd_ltdc.Init.VSPolarity = LTDC_VSPOLARITY_AL;
   hlcd_ltdc.Init.DEPolarity = LTDC_DEPOLARITY_AL;
   hlcd_ltdc.Init.PCPolarity = LTDC_PCPOLARITY_IPC;
   hlcd_ltdc.Instance = LTDC;

   HAL_LTDC_Init(&hlcd_ltdc);
}

/**
 * @brief  Initializes the LCD layers.
 * @param  LayerIndex: Layer foreground or background
 * @param  FB_Address: Layer frame buffer
 * @retval None
 */
static void LCD_LayertInit(uint16_t LayerIndex, uint32_t Address)
{
   LTDC_LayerCfgTypeDef layercfg;

   /* Layer Init */
   layercfg.WindowX0 = 0;
   layercfg.WindowX1 = Lcd_Ctx[0].XSize;
   layercfg.WindowY0 = 0;
   layercfg.WindowY1 = Lcd_Ctx[0].YSize;
   layercfg.PixelFormat = LTDC_PIXEL_FORMAT_ARGB8888;
   layercfg.FBStartAdress = Address;
   layercfg.Alpha = 255;
   layercfg.Alpha0 = 0;
   layercfg.Backcolor.Blue = 0;
   layercfg.Backcolor.Green = 0;
   layercfg.Backcolor.Red = 0;
   layercfg.BlendingFactor1 = LTDC_BLENDING_FACTOR1_PAxCA;
   layercfg.BlendingFactor2 = LTDC_BLENDING_FACTOR2_PAxCA;
   layercfg.ImageWidth = Lcd_Ctx[0].XSize;
   layercfg.ImageHeight = Lcd_Ctx[0].YSize;

   HAL_LTDC_ConfigLayer(&hlcd_ltdc, &layercfg, LayerIndex);
}

/**
 * @brief  DCS or Generic short/long write command
 * @param  ChannelNbr Virtual channel ID
 * @param  Reg Register to be written
 * @param  pData pointer to a buffer of data to be write
 * @param  Size To precise command to be used (short or long)
 * @retval BSP status
 */
static int32_t DSI_IO_Write(uint16_t ChannelNbr, uint16_t Reg, uint8_t *pData,
                            uint16_t Size)
{
   int32_t ret = BSP_ERROR_NONE;

   if (Size <= 1U) {
      if (HAL_DSI_ShortWrite(&hlcd_dsi, ChannelNbr, DSI_DCS_SHORT_PKT_WRITE_P1,
                             Reg, (uint32_t)pData[Size]) != HAL_OK) {
         ret = BSP_ERROR_BUS_FAILURE;
      }
   } else {
      if (HAL_DSI_LongWrite(&hlcd_dsi, ChannelNbr, DSI_DCS_LONG_PKT_WRITE, Size,
                            (uint32_t)Reg, pData) != HAL_OK) {
         ret = BSP_ERROR_BUS_FAILURE;
      }
   }

   return ret;
}

/**
 * @brief  DCS or Generic read command
 * @param  ChannelNbr Virtual channel ID
 * @param  Reg Register to be read
 * @param  pData pointer to a buffer to store the payload of a read back
 * operation.
 * @param  Size  Data size to be read (in byte).
 * @retval BSP status
 */
static int32_t DSI_IO_Read(uint16_t ChannelNbr, uint16_t Reg, uint8_t *pData,
                           uint16_t Size)
{
   int32_t ret = BSP_ERROR_NONE;

   if (HAL_DSI_Read(&hlcd_dsi, ChannelNbr, pData, Size, DSI_DCS_SHORT_PKT_READ,
                    Reg, pData) != HAL_OK) {
      ret = BSP_ERROR_BUS_FAILURE;
   }

   return ret;
}

void LCD_MspInit(void)
{
   /** @brief Enable the LTDC clock */
   __HAL_RCC_LTDC_CLK_ENABLE();

   /** @brief Toggle Sw reset of LTDC IP */
   __HAL_RCC_LTDC_FORCE_RESET();
   __HAL_RCC_LTDC_RELEASE_RESET();

   /** @brief Enable the DMA2D clock */
   __HAL_RCC_DMA2D_CLK_ENABLE();

   /** @brief Toggle Sw reset of DMA2D IP */
   __HAL_RCC_DMA2D_FORCE_RESET();
   __HAL_RCC_DMA2D_RELEASE_RESET();

   /** @brief Enable DSI Host and wrapper clocks */
   __HAL_RCC_DSI_CLK_ENABLE();

   /** @brief Soft Reset the DSI Host and wrapper */
   __HAL_RCC_DSI_FORCE_RESET();
   __HAL_RCC_DSI_RELEASE_RESET();

   /** @brief NVIC configuration for LTDC interrupt that is now enabled */
   HAL_NVIC_SetPriority(LTDC_IRQn, 9, 0xf);
   HAL_NVIC_EnableIRQ(LTDC_IRQn);

   /** @brief NVIC configuration for DMA2D interrupt that is now enabled */
   HAL_NVIC_SetPriority(DMA2D_IRQn, 9, 0xf);
   HAL_NVIC_EnableIRQ(DMA2D_IRQn);

   /** @brief NVIC configuration for DSI interrupt that is now enabled */
   HAL_NVIC_SetPriority(DSI_IRQn, 9, 0xf);
   HAL_NVIC_EnableIRQ(DSI_IRQn);
}

/**
 * @brief Setup status message above the progress bar.
 *
 * @param ptr pointer to array of chars
 */
static void LCD_Display_SetStatus(char *ptr)
{
   UTIL_LCD_SetFont(&Font16);
   UTIL_LCD_SetTextColor(APP_COLOR_TEXT);
   UTIL_LCD_SetBackColor(APP_COLOR_BACKGROUND);
   UTIL_LCD_DisplayStringAtLine(26, ptr);
}

/**
 * @brief Setup title and header background.
 *
 * @param ptr pointer to array of chars
 */
static void LCD_Display_SetTitle(char *ptr)
{
   UTIL_LCD_FillRect(0, 0, 800, 75, APP_COLOR_STONE);
   UTIL_LCD_SetFont(&FontAvenirNext20);
   UTIL_LCD_SetTextColor(APP_COLOR_TEXT);
   UTIL_LCD_SetBackColor(APP_COLOR_STONE);
   UTIL_LCD_DisplayStringAtLine(1, ptr);
   // UTIL_LCD_FillRect(170, 80, 460, 1, APP_COLOR_TEXT);
}

/**
 * @brief Render progress bar.
 *
 * @param progress progress in interval 0-100 %
 * @param color color of progress bar, color formate is argc
 */
static void LCD_Display_ProgressBar(uint16_t progress, uint32_t color)
{
   /* Clean space */
   UTIL_LCD_FillRect(00, 440, 800, 20, APP_COLOR_BACKGROUND);
   UTIL_LCD_FillRect(19, 439, 762, 22, APP_COLOR_TEXT);
   UTIL_LCD_FillRect(20, 440, (uint32_t)(progress * 7.60), 20, color);
}

/**
 * @brief Render special timer button for config time.
 *
 * @param app
 */
static void LCD_Display_TimerButton(App_t *app)
{
   UTIL_LCD_SetFont(&FontMenlo32);
   UTIL_LCD_SetTextColor(APP_COLOR_TEXT);
   UTIL_LCD_SetBackColor(APP_COLOR_BACKGROUND);
   UTIL_LCD_DisplayStringAtLine(4, (uint8_t *)"         +");
   UTIL_LCD_DisplayStringAtLine(9, (uint8_t *)"         -");
   char buf[40];
   uint32_t tmp = app->config_timer / SECOND; // from miliseconds to seconds
   uint32_t h = tmp / 3600;
   tmp %= 3600;
   uint32_t m = tmp / 60;
   uint32_t s = tmp % 60;
   sprintf(buf, "       %02ld:%02ld:%02ld", h, m, s);
   UTIL_LCD_SetFont(&FontAvenirNext20);
   UTIL_LCD_DisplayStringAtLine(11, (uint8_t *)&buf);
}

/**
 * @brief Render the left button. The left button can by displayed in 2 options:
 * PUSH_BUTTON and TIMER_BUTTON. The PUSH_BUTTON is classical mode, TIMER_BUTTON
 * is used for config timer value.
 *
 * @param app
 */
static void LCD_Display_LeftButton(App_t *app)
{
   if (app->button_left_type == PUSH_BUTTON) {
      UTIL_LCD_FillCircle(200, 220, 92, APP_COLOR_TEXT);
      UTIL_LCD_FillCircle(200, 220, 90, app->button_left_color);
   } else if (app->button_left_type == TIMER_BUTTON) {
      UTIL_LCD_FillCircle(200, 220, 92, APP_COLOR_BACKGROUND);
      LCD_Display_TimerButton(app);
   }
}

/**
 * @brief Render the right button, that can by displayed in 2 options as
 * PUSH_BUTTON or as NONE. The PUSH_BUTTON render classical button. The NONE
 * options render circle in same color as a background, so there will be
 * nothing.
 *
 * @param app
 */
static void LCD_Display_RightButton(App_t *app)
{
   if (app->button_right_type == PUSH_BUTTON) {
      UTIL_LCD_FillCircle(600, 220, 92, APP_COLOR_TEXT);
      UTIL_LCD_FillCircle(600, 220, 90, app->button_right_color);
   } else if (app->button_right_type == NONE) {
      UTIL_LCD_FillCircle(600, 220, 92, APP_COLOR_BACKGROUND);
   }
}

/**
 * @brief Render titles under the buttons. There are a four options
 * (FRONT_SCREEN, MANUALLY_SCREEN, TIMER_CONFIG_SCENE and WAITING_SCENE) thats
 * switched by app scene.
 *
 * @param app
 */
static void LCD_Display_ButtonTitles(App_t *app)
{
   UTIL_LCD_SetFont(&FontAvenirNext20);
   UTIL_LCD_SetTextColor(APP_COLOR_TEXT);
   UTIL_LCD_SetBackColor(APP_COLOR_BACKGROUND);
   switch (app->scene) {
   case FRONT_SCREEN:
      UTIL_LCD_DisplayStringAtLine(
          17, (uint8_t *)"     MANUALLY START          SETUP TIMER           ");
      break;
   case TURNON_SCENE:
      UTIL_LCD_DisplayStringAtLine(
          17, (uint8_t *)"     MANUALLY STOP                                 ");
      break;

   case TIMER_CONFIG_SCENE:
      UTIL_LCD_DisplayStringAtLine(
          17, (uint8_t *)"                             START TIMER           ");
      break;
   case WAITING_SCENE:
      UTIL_LCD_DisplayStringAtLine(
          17, (uint8_t *)"      STOP TIMER            MANUALLY START         ");
      break;
   }
}

/**
 * @brief The util function to determine if the touch is in the area. The
 * examined area is in the shape of a square.
 *
 * @param s (TS_State_t) The structure returned from touch screen
 * @param x_max
 * @param x_min
 * @param y_max
 * @param y_min
 * @return uint8_t
 */
uint8_t APP_HandleTouch_IsInInterval(TS_State_t *s, uint32_t x_max,
                                     uint32_t x_min, uint32_t y_max,
                                     uint32_t y_min)
{
   if (s->TouchX < x_max && s->TouchX > x_min && s->TouchY < y_max &&
       s->TouchY > y_min)
      return 1;
   else
      return 0;
}

/**
 * @brief Start software timer thats work by sys ticks.
 *
 * @param app
 */
static void APP_StartTimer(App_t *app)
{
   app->timer_left = app->timer;
   app->timer_start_time = HAL_GetTick();
}

/**
 * @brief Update software timer by sys tick value.
 *
 * @param app
 */
static void APP_UpdateTimer(App_t *app)
{
   if (app->timer != 0) {
      uint32_t now = HAL_GetTick();
      if (app->timer > now - app->timer_start_time)
         app->timer_left = app->timer - (now - app->timer_start_time);
      else {
         if (app->scene == WAITING_SCENE)
            TO_TURNON_SCENE(app);
         else
            TO_FRONT_SCENE(app);
      }
   }
}

/**
 * @brief Transition to the front page.
 *
 * @param app
 */
static void TO_FRONT_SCENE(App_t *app)
{
   app->_delay = 1;
   app->scene = FRONT_SCREEN;
   app->button_left_color = APP_COLOR_GREEN;
   app->button_left_type = PUSH_BUTTON;
   app->button_right_color = APP_COLOR_YELLOW;
   app->button_right_type = PUSH_BUTTON;
   sprintf(app->status_message,
           "  Toaster is stopped                         ");
   app->status_color = APP_COLOR_RED;

   app->timer = 0;
}

/**
 * @brief Transition to the manual page.
 *
 * @param app
 */
static void TO_TURNON_SCENE(App_t *app)
{
   app->_delay = 1;
   app->scene = TURNON_SCENE;
   app->button_left_color = APP_COLOR_RED;
   app->button_left_type = PUSH_BUTTON;
   app->button_right_type = NONE;
   sprintf(app->status_message, "  Started manually                          ");
   app->status_color = APP_COLOR_GREEN;

   /* Set up timer */
   app->timer = 1 * 60 * SECOND; // 1 min
   APP_StartTimer(app);
}

/**
 * @brief Transition to the config scene.
 *
 * @param app
 */
static void TO_TIMER_CONFIG_SCENE(App_t *app)
{
   app->_delay = 1;
   app->scene = TIMER_CONFIG_SCENE;
   app->button_right_color = APP_COLOR_GREEN;
   app->button_left_type = TIMER_BUTTON;
   app->status_color = APP_COLOR_YELLOW;
   sprintf(app->status_message, "  Delay configuration                       ");

   app->config_timer =
       17 * 60 * SECOND + 21 * SECOND; // default 17 min and 21 s
}

/**
 * @brief Transition to the waiting scene.
 *
 * @param app
 */
static void TO_WAITING_SCENE(App_t *app)
{
   app->_delay = 1;
   app->scene = WAITING_SCENE;
   app->button_left_color = APP_COLOR_YELLOW;
   app->button_left_type = PUSH_BUTTON;
   app->button_right_color = APP_COLOR_GREEN;
   app->button_right_type = PUSH_BUTTON;
   app->status_color = APP_COLOR_YELLOW;
   app->timer = app->config_timer;
   sprintf(app->status_message, "  Start in %ld min",
           app->timer / (60 * SECOND));
   APP_StartTimer(app);
}

/**
 * @brief One of three main logic function thats handle touch screen.
 *
 * @param TS_State
 * @param app
 */
static void APP_HandleTouch(TS_State_t *TS_State, App_t *app)
{
   if (TS_State->TouchDetected != 0U) {

      /* Handle config timer time */
      if (app->scene == TIMER_CONFIG_SCENE) {
         if (APP_HandleTouch_IsInInterval(TS_State, 450, 250, 300, 80))
            app->config_timer += SECOND;
         else if (APP_HandleTouch_IsInInterval(TS_State, 210, 20, 300, 80))
            app->config_timer -= SECOND;
      }

      if (APP_HandleTouch_IsInInterval(TS_State, 320, 160, 283, 125)) {
         /* Detect left button push */
         switch (app->scene) {
            /* PUSH MANUALLY START button -> Set up TURNON_SCENE */
         case FRONT_SCREEN:
            TO_TURNON_SCENE(app);
            break;
            /* PUSH MANUALLY STOP button -> Set up FRONT_SCREEN */
         case TURNON_SCENE:
            TO_FRONT_SCENE(app);
            break;
         case WAITING_SCENE:
            TO_FRONT_SCENE(app);
            break;
         }
      } else if (APP_HandleTouch_IsInInterval(TS_State, 320, 160, 670, 539)) {
         /* Detect right button push */
         switch (app->scene) {
         case FRONT_SCREEN:
            TO_TIMER_CONFIG_SCENE(app);
            break;
         case TIMER_CONFIG_SCENE:
            TO_WAITING_SCENE(app);
            break;
         case WAITING_SCENE:
            TO_TURNON_SCENE(app);
            break;
         }
      }
   }
}

/**
 * @brief One of three main logic function thats render data on display.
 *
 * @param app
 */
static void APP_UpdateScene(App_t *app)
{
   /* Update button titles by scene */
   LCD_Display_ButtonTitles(app);

   /* Update right button */
   LCD_Display_RightButton(app);
   /* Update left button */
   LCD_Display_LeftButton(app);

   /* Update title */
   LCD_Display_SetTitle(app->title);

   /* Update status message */
   if (app->scene == WAITING_SCENE) {
      sprintf(app->status_message,
              "  Start in %ld min                          ",
              app->timer_left / (60 * SECOND));
   }
   LCD_Display_SetStatus(app->status_message);
   /* Update progress bar*/
   if (app->timer == 0)
      app->progress_bar = 100;
   else
      app->progress_bar = (uint16_t)((100 * app->timer_left) / app->timer);
   LCD_Display_ProgressBar(app->progress_bar, app->status_color);

   /*Refresh the LCD display*/
   // HAL_Delay(10);
   HAL_DSI_Refresh(&hlcd_dsi);
   if (app->_delay) {
      HAL_Delay(800);
      app->_delay = 0;
   }
}

/**
 * @brief On TURNON_SCENE turn on LED4 and send message trough shared memory to
 * M4 CPU.
 *
 * @param app
 */
static void APP_TurnPeripheries(App_t *app)
{
   if (app->scene == TURNON_SCENE) {
      const int buff[] = {1, 1};
      BSP_LED_On(LED4);
      put_to_m4(&buff, 2);
   } else {
      const int buff[] = {1, 0};
      BSP_LED_Off(LED4);
      put_to_m4(&buff, 2);
   }
}

/**
 * @brief Init touch screen.
 *
 * @return int32_t
 */
int32_t TS_Init(void)
{
   /* TS_Init */
   TS_Init_t TS_InitStruct;
   TS_InitStruct.Width = TS_MAX_WIDTH;
   TS_InitStruct.Height = TS_MAX_HEIGHT;
   TS_InitStruct.Orientation = TS_SWAP_NONE;
   TS_InitStruct.Accuracy = TS_ACCURACY;

   int32_t ret = BSP_TS_Init(TS_INSTANCE, &TS_InitStruct);
   if (ret != BSP_ERROR_NONE)
      return ret;
   // ret = BSP_TS_EnableIT(TS_INSTANCE);
   return ret;
}

void SystemClock_Config(void)
{
   RCC_ClkInitTypeDef RCC_ClkInitStruct;
   RCC_OscInitTypeDef RCC_OscInitStruct;
   HAL_StatusTypeDef ret = HAL_OK;

   /*!< Supply configuration update enable */
   HAL_PWREx_ConfigSupply(PWR_DIRECT_SMPS_SUPPLY);

   /* The voltage scaling allows optimizing the power consumption when the
    device is clocked below the maximum system frequency, to update the
    voltage scaling value regarding system frequency refer to product
    datasheet.  */
   __HAL_PWR_VOLTAGESCALING_CONFIG(PWR_REGULATOR_VOLTAGE_SCALE1);

   while (!__HAL_PWR_GET_FLAG(PWR_FLAG_VOSRDY)) {
   }

   /* Enable HSE Oscillator and activate PLL with HSE as source */
   RCC_OscInitStruct.OscillatorType = RCC_OSCILLATORTYPE_HSE;
   RCC_OscInitStruct.HSEState = RCC_HSE_ON;
   RCC_OscInitStruct.HSIState = RCC_HSI_OFF;
   RCC_OscInitStruct.CSIState = RCC_CSI_OFF;
   RCC_OscInitStruct.PLL.PLLState = RCC_PLL_ON;
   RCC_OscInitStruct.PLL.PLLSource = RCC_PLLSOURCE_HSE;

   RCC_OscInitStruct.PLL.PLLM = 5;
   RCC_OscInitStruct.PLL.PLLN = 160;
   RCC_OscInitStruct.PLL.PLLFRACN = 0;
   RCC_OscInitStruct.PLL.PLLP = 2;
   RCC_OscInitStruct.PLL.PLLR = 2;
   RCC_OscInitStruct.PLL.PLLQ = 4;

   RCC_OscInitStruct.PLL.PLLVCOSEL = RCC_PLL1VCOWIDE;
   RCC_OscInitStruct.PLL.PLLRGE = RCC_PLL1VCIRANGE_2;
   ret = HAL_RCC_OscConfig(&RCC_OscInitStruct);
   if (ret != HAL_OK) {
      Error_Handler();
   }

   /* Select PLL as system clock source and configure  bus clocks dividers */
   RCC_ClkInitStruct.ClockType =
       (RCC_CLOCKTYPE_SYSCLK | RCC_CLOCKTYPE_HCLK | RCC_CLOCKTYPE_D1PCLK1 |
        RCC_CLOCKTYPE_PCLK1 | RCC_CLOCKTYPE_PCLK2 | RCC_CLOCKTYPE_D3PCLK1);

   RCC_ClkInitStruct.SYSCLKSource = RCC_SYSCLKSOURCE_PLLCLK;
   RCC_ClkInitStruct.SYSCLKDivider = RCC_SYSCLK_DIV1;
   RCC_ClkInitStruct.AHBCLKDivider = RCC_HCLK_DIV2;
   RCC_ClkInitStruct.APB3CLKDivider = RCC_APB3_DIV2;
   RCC_ClkInitStruct.APB1CLKDivider = RCC_APB1_DIV2;
   RCC_ClkInitStruct.APB2CLKDivider = RCC_APB2_DIV2;
   RCC_ClkInitStruct.APB4CLKDivider = RCC_APB4_DIV2;
   ret = HAL_RCC_ClockConfig(&RCC_ClkInitStruct, FLASH_LATENCY_4);
   if (ret != HAL_OK) {
      Error_Handler();
   }

   /*
    Note : The activation of the I/O Compensation Cell is recommended with
    communication  interfaces (GPIO, SPI, FMC, QSPI ...)  when  operating at
    high frequencies(please refer to product datasheet) The I/O Compensation
    Cell activation  procedure requires :
    - The activation of the CSI clock
    - The activation of the SYSCFG clock
    - Enabling the I/O Compensation Cell : setting bit[0] of register
    SYSCFG_CCCSR
    */

   /*activate CSI clock mondatory for I/O Compensation Cell*/
   __HAL_RCC_CSI_ENABLE();

   /* Enable SYSCFG clock mondatory for I/O Compensation Cell */
   __HAL_RCC_SYSCFG_CLK_ENABLE();

   /* Enables the I/O Compensation Cell */
   HAL_EnableCompensationCell();
}

/**
 * @brief  CPU L1-Cache enable.
 * @param  None
 * @retval None
 */
static void CPU_CACHE_Enable(void)
{
   /* Enable I-Cache */
   SCB_EnableICache();

   /* Enable D-Cache */
   SCB_EnableDCache();
}

/**
 * @brief  Configure the MPU attributes as Write Through for External SDRAM.
 * @note   The Base Address is 0xD0000000 .
 *         The Configured Region Size is 32MB because same as SDRAM size.
 * @param  None
 * @retval None
 */
static void MPU_Config(void)
{
   MPU_Region_InitTypeDef MPU_InitStruct;

   /* Disable the MPU */
   HAL_MPU_Disable();

   /* Configure the MPU as Strongly ordered for not defined regions */
   MPU_InitStruct.Enable = MPU_REGION_ENABLE;
   MPU_InitStruct.BaseAddress = 0x00;
   MPU_InitStruct.Size = MPU_REGION_SIZE_4GB;
   MPU_InitStruct.AccessPermission = MPU_REGION_NO_ACCESS;
   MPU_InitStruct.IsBufferable = MPU_ACCESS_NOT_BUFFERABLE;
   MPU_InitStruct.IsCacheable = MPU_ACCESS_NOT_CACHEABLE;
   MPU_InitStruct.IsShareable = MPU_ACCESS_SHAREABLE;
   MPU_InitStruct.Number = MPU_REGION_NUMBER0;
   MPU_InitStruct.TypeExtField = MPU_TEX_LEVEL0;
   MPU_InitStruct.SubRegionDisable = 0x87;
   MPU_InitStruct.DisableExec = MPU_INSTRUCTION_ACCESS_DISABLE;

   HAL_MPU_ConfigRegion(&MPU_InitStruct);

   /* Configure the MPU attributes as WT for SDRAM */
   MPU_InitStruct.Enable = MPU_REGION_ENABLE;
   MPU_InitStruct.BaseAddress = SDRAM_DEVICE_ADDR;
   MPU_InitStruct.Size = MPU_REGION_SIZE_32MB;
   MPU_InitStruct.AccessPermission = MPU_REGION_FULL_ACCESS;
   MPU_InitStruct.IsBufferable = MPU_ACCESS_NOT_BUFFERABLE;
   MPU_InitStruct.IsCacheable = MPU_ACCESS_CACHEABLE;
   MPU_InitStruct.IsShareable = MPU_ACCESS_NOT_SHAREABLE;
   MPU_InitStruct.Number = MPU_REGION_NUMBER1;
   MPU_InitStruct.TypeExtField = MPU_TEX_LEVEL0;
   MPU_InitStruct.SubRegionDisable = 0x00;
   MPU_InitStruct.DisableExec = MPU_INSTRUCTION_ACCESS_ENABLE;

   HAL_MPU_ConfigRegion(&MPU_InitStruct);

   /* Enable the MPU */
   HAL_MPU_Enable(MPU_PRIVILEGED_DEFAULT);
}

/**
 * @brief Error Handler
 * @retval None
 */
void Error_Handler(void)
{

   BSP_LED_On(LED2);
   while (1) {
      ;
   } /* Blocking on error */
}
